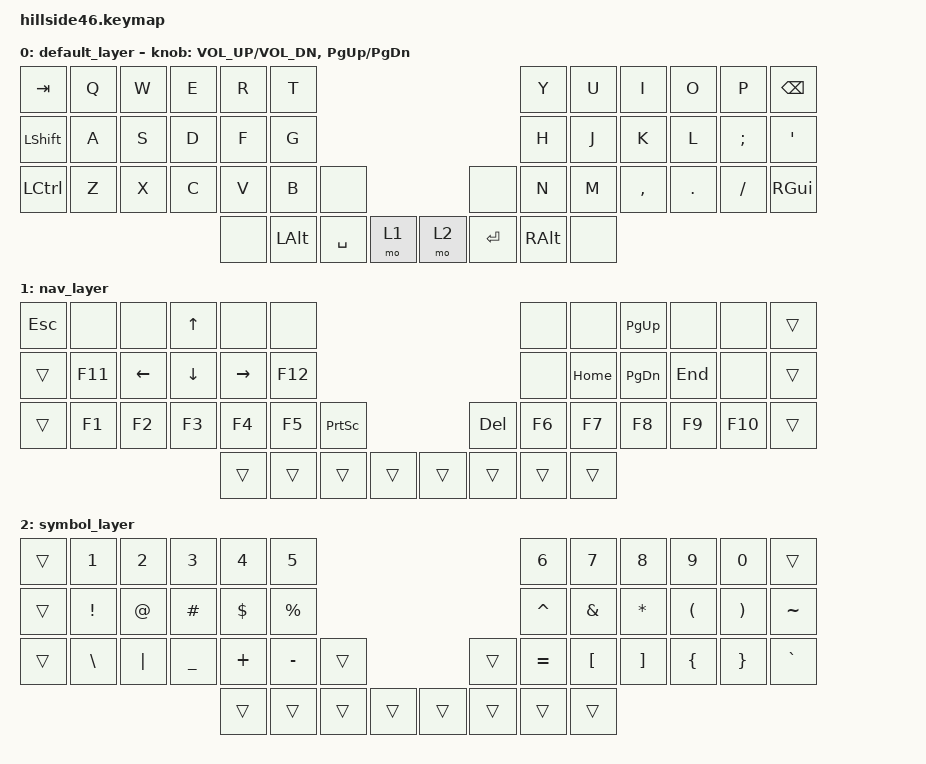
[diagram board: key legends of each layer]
/*
 * Copyright (c) 2021-2022 The ZMK Contributors
 *
 * SPDX-License-Identifier: MIT
 */

#include <behaviors.dtsi>
#include <dt-bindings/zmk/keys.h>

#define QWERTY_L 0
#define DVORAK_L 1
#define COLEMK_L 2
#define NAV_L    3
#define SYM_L    4
#define ADJ_L    5
#define Undo   LC(Z)
#define Cut    LC(X)
#define Copy   LC(C)
#define Paste  LC(V)
#define Redo   LC(Y)

/ {
    keymap {
        compatible = "zmk,keymap";

        default_layer {
            /* QWERTY
 * -------------------------------------------------------------------------------------------------------------------------------------
 * | `     |   Q   |   W   |   E   |   R   |   T   |-----------------------------------|   Y   |   U   |   I   |   O   |   P   | BKSPC |
 * | TAB   |   A   |   S   |   D   |   F   |   G   |-----------------------------------|   H   |   J   |   K   |   L   |   ;   | ENTER |
 * | CTRL  |   Z   |   X   |   C   |   V   |   B   |  ESC  |-------------------|  CAPS |   N   |   M   |   ,   |   .   |   /   |   '   |
 *                                 |  GUI  |  ALT  |SK SHFT|  Nav  |---|  Sym  | SPACE |  ALT  |  GUI  |
 */

            bindings = <
&kp TAB           &kp Q  &kp W  &kp E  &kp R  &kp T                                           &kp Y          &kp U  &kp I      &kp O    &kp P      &kp BSPC
&kp LSHIFT    &kp A  &kp S  &kp D  &kp F  &kp G                                           &kp H          &kp J  &kp K      &kp L    &kp SEMI   &kp SQT
&kp LCTRL  &kp Z  &kp X  &kp C  &kp V  &kp B     &none                      &none      &kp N          &kp M  &kp COMMA  &kp DOT  &kp SLASH  &kp RIGHT_GUI
                                       &none  &kp LALT  &kp SPACE  &mo 1    &mo 2  &kp ENTER  &kp RIGHT_ALT  &none
            >;

            sensor-bindings = <&inc_dec_kp C_VOL_UP C_VOL_DN &inc_dec_kp PG_UP PG_DN>;
        };

        nav_layer {
            bindings = <
&kp ESC  &none    &none     &kp UP    &none      &none                                                   &none   &none     &kp PG_UP  &none    &none    &trans
&trans   &kp F11  &kp LEFT  &kp DOWN  &kp RIGHT  &kp F12                                                 &none   &kp HOME  &kp PG_DN  &kp END  &none    &trans
&trans   &kp F1   &kp F2    &kp F3    &kp F4     &kp F5   &kp PRINTSCREEN                    &kp DELETE  &kp F6  &kp F7    &kp F8     &kp F9   &kp F10  &trans
                                      &trans     &trans   &trans           &trans    &trans  &trans      &trans  &trans
            >;
        };

        symbol_layer {
            bindings = <
&trans  &kp N1    &kp N2    &kp N3          &kp N4      &kp N5                                         &kp N6     &kp N7            &kp N8             &kp N9                &kp N0                 &trans
&trans  &kp EXCL  &kp AT    &kp HASH        &kp DOLLAR  &kp PERCENT                                    &kp CARET  &kp AMPERSAND     &kp ASTERISK       &kp LEFT_PARENTHESIS  &kp RIGHT_PARENTHESIS  &kp TILDE
&trans  &kp BSLH  &kp PIPE  &kp UNDERSCORE  &kp PLUS    &kp MINUS    &trans                    &trans  &kp EQUAL  &kp LEFT_BRACKET  &kp RIGHT_BRACKET  &kp LEFT_BRACE        &kp RIGHT_BRACE        &kp GRAVE
                                            &trans      &trans       &trans  &trans    &trans  &trans  &trans     &trans
            >;
        };
    };
};
